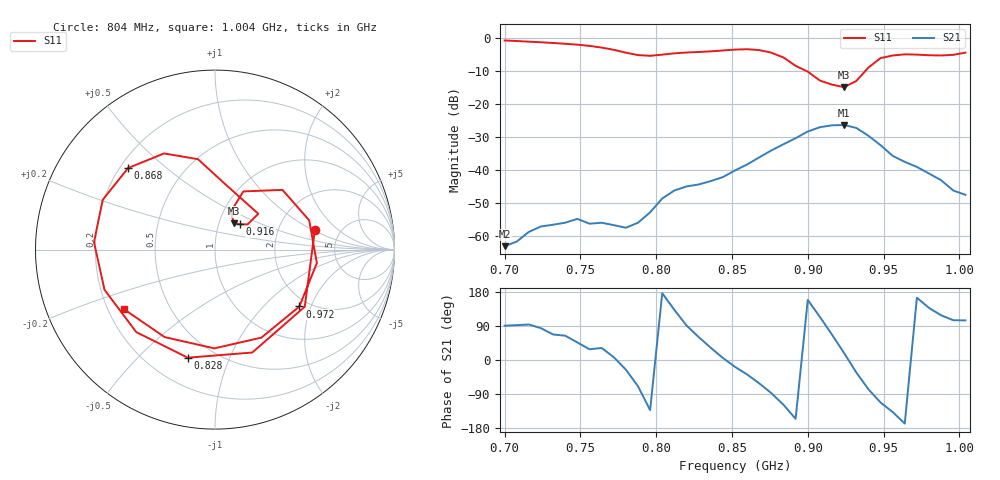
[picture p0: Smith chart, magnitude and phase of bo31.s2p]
# Hz S RI R 50
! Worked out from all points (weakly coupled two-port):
!   39 points, 700 MHz to 1.004 GHz, reference 50 ohm
!   highest |S21| = -26.25 dB at 924 MHz (marker M1); lowest = -63.0 dB at 700 MHz (marker M2)
!   lowest |S11| = -14.8 dB at 924 MHz (marker M3), VSWR 1.45, Z = 59.1 + j18 ohm
!   |S11| at or under -10 dB: 899.6 MHz to 937.8 MHz (38.17 MHz wide, 4.15 % of centre)
!   S12 and S22 are empty: the file has one direction only
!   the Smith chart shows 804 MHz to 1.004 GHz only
!   S11 on the Smith chart (normalised r, x): 804 MHz: 3.26, +1.03; 828 MHz: 0.36, -0.71; 868 MHz: 0.23, +0.38; 916 MHz: 1.27, +0.37; 972 MHz: 1.78, -1.66; 1.004 GHz: 0.26, -0.28
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7e8  0.7636 0.5288  -6.96e-06 0.000712  0 0  0 0
7.24e8  0.833 -0.2592  0.000149 0.00141  0 0  0 0
7.4e8  0.4394 -0.7012  0.000705 0.00145  0 0  0 0
7.56e8  -0.1963 -0.7433  0.00137 0.00074  0 0  0 0
7.72e8  -0.6454 -0.1829  0.00147 0.000195  0 0  0 0
7.8e8  -0.559 0.2356  0.00122 -0.000581  0 0  0 0
7.88e8  -0.1961 0.5218  0.000571 -0.00151  0 0  0 0
8.04e8  0.5561 0.1078  -0.00375 0.000247  0 0  0 0
8.2e8  0.2078 -0.5734  -0.000102 0.00571  0 0  0 0
8.28e8  -0.1518 -0.6022  0.003 0.00534  0 0  0 0
8.52e8  -0.6741 0.041  0.00948 -0.0031  0 0  0 0
8.68e8  -0.4839 0.4545  0.00748 -0.0139  0 0  0 0
8.84e8  -0.0947 0.5038  -0.0118 -0.022  0 0  0 0
9e8  0.2412 0.1994  -0.0361 0.0143  0 0  0 0
9.08e8  0.1814 0.1405  -0.0183 0.0413  0 0  0 0
9.16e8  0.1404 0.1411  0.0189 0.0443  0 0  0 0
9.24e8  0.1077 0.1469  0.0463 0.0152  0 0  0 0
9.48e8  0.3757 0.3328  -0.00905 -0.0223  0 0  0 0
9.56e8  0.525 0.1629  -0.0122 -0.0113  0 0  0 0
9.72e8  0.4701 -0.317  -0.0109 0.00303  0 0  0 0
9.88e8  -0.00366 -0.5503  -0.00333 0.00626  0 0  0 0
1.004e9  -0.5097 -0.3303  -0.00107 0.00413  0 0  0 0
